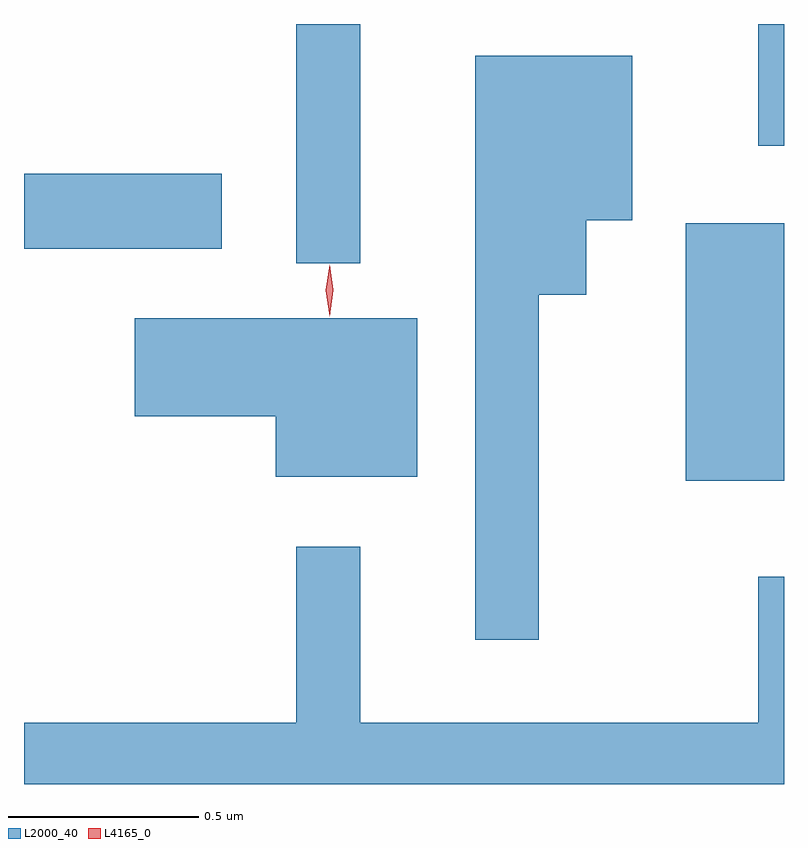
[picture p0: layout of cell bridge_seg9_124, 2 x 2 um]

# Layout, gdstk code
import gdstk
lib = gdstk.Library(unit=1e-6, precision=1e-09)
def R(c, l, rs):  # rectangles x0, y0, x1, y1
    for r in rs: c.add(gdstk.rectangle(r[:2], r[2:], *l))
def P(c, l, *ps):  # polygons
    for p in ps: c.add(gdstk.Polygon(p, *l))
L2000_40 = (2000, 40)
L4165_0 = (4165, 0)

bridge_seg9_124 = lib.new_cell('bridge_seg9_124')
R(bridge_seg9_124, L2000_40, [(1836.976,1966.081,1837.234,1966.759), (1835.951,1966.653,1836.119,1967.283), (1835.234,1966.691,1835.754,1966.889), (1837.166,1966.963,1837.234,1967.283)])
P(bridge_seg9_124, L2000_40, [(1836.589,1966.571),(1836.714,1966.571),(1836.714,1966.766),(1836.834,1966.766),(1836.834,1967.199),(1836.421,1967.199),(1836.421,1965.663),(1836.589,1965.663)],
  [(1836.269,1966.509),(1835.526,1966.509),(1835.526,1966.251),(1835.896,1966.251),(1835.896,1966.091),(1836.269,1966.091)],
  [(1837.234,1965.828),(1837.166,1965.828),(1837.166,1965.444),(1836.119,1965.444),(1836.119,1965.908),(1835.951,1965.908),(1835.951,1965.444),(1835.234,1965.444),(1835.234,1965.283),(1837.234,1965.283)])
P(bridge_seg9_124, L4165_0, [(1836.038,1966.514),(1836.028,1966.582),(1836.038,1966.65),(1836.038,1966.65),(1836.039,1966.65),(1836.048,1966.582),(1836.039,1966.514),(1836.039,1966.514)],
  [(1836.039,1966.52),(1836.038,1966.521),(1836.029,1966.584),(1836.038,1966.647),(1836.038,1966.647),(1836.039,1966.647),(1836.048,1966.584),(1836.039,1966.521)])

lib.write_gds('bridge_seg9_124.gds')
